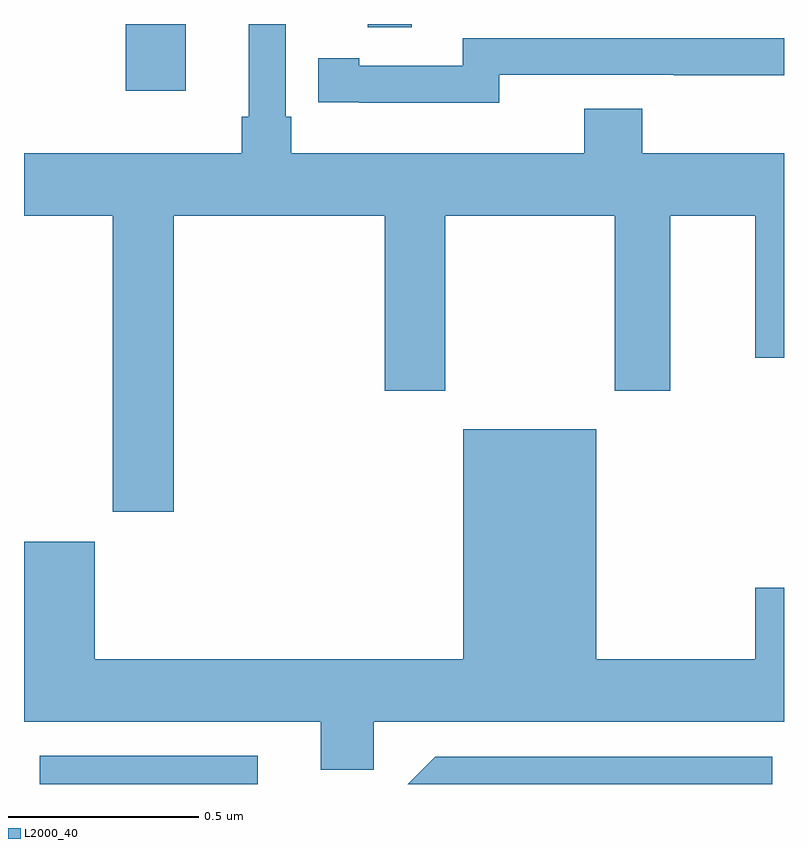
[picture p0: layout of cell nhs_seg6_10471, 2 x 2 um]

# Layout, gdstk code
import gdstk
lib = gdstk.Library(unit=1e-6, precision=1e-09)
def R(c, l, rs):  # rectangles x0, y0, x1, y1
    for r in rs: c.add(gdstk.rectangle(r[:2], r[2:], *l))
def P(c, l, *ps):  # polygons
    for p in ps: c.add(gdstk.Polygon(p, *l))
L2000_40 = (2000, 40)

nhs_seg6_10471 = lib.new_cell('nhs_seg6_10471')
R(nhs_seg6_10471, L2000_40, [(247.041,952.5,247.615,952.575), (247.268,954.324,247.426,954.5), (247.904,954.492,248.021,954.5)])
P(nhs_seg6_10471, L2000_40, [(247.394,953.996),(247.949,953.996),(247.949,953.535),(248.109,953.535),(248.109,953.996),(248.554,953.996),(248.554,953.535),(248.701,953.535),(248.701,953.996),(248.924,953.996),(248.924,953.622),(249,953.622),(249,954.16),(248.627,954.16),(248.627,954.277),(248.474,954.277),(248.474,954.16),(247.703,954.16),(247.703,954.256),(247.689,954.256),(247.689,954.5),(247.592,954.5),(247.592,954.256),(247.573,954.256),(247.573,954.16),(247,954.16),(247,953.996),(247.234,953.996),(247.234,953.217),(247.394,953.217)],
  [(248.25,954.366),(248.71,954.366),(248.71,954.365),(249,954.365),(249,954.462),(248.154,954.462),(248.154,954.39),(247.882,954.39),(247.882,954.41),(247.774,954.41),(247.774,954.294),(247.882,954.294),(247.882,954.293),(248.25,954.293)],
  [(247.92,952.664),(249,952.664),(249,953.017),(248.924,953.017),(248.924,952.828),(248.506,952.828),(248.506,953.434),(248.156,953.434),(248.156,952.828),(247.186,952.828),(247.186,953.137),(247,953.137),(247,952.664),(247.781,952.664),(247.781,952.537),(247.92,952.537)],
  [(248.969,952.572),(248.082,952.572),(248.01,952.5),(248.969,952.5)])

lib.write_gds('nhs_seg6_10471.gds')
